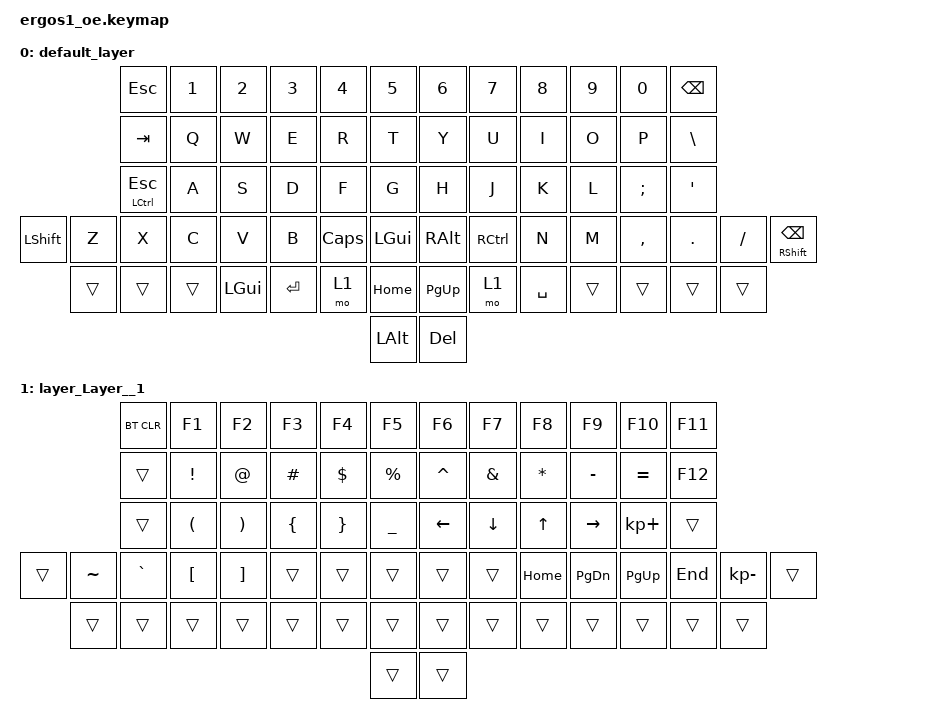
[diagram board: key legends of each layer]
/*
 * Copyright (c) 2020 The ZMK Contributors
 *
 * SPDX-License-Identifier: MIT
 */
/* THIS FILE WAS GENERATED!
 *
 * This file was generated automatically. You may or may not want to
 * edit it directly.
 */

#include <behaviors.dtsi>
#include <dt-bindings/zmk/keys.h>
#include <dt-bindings/zmk/bt.h>

/ {
    keymap {
        compatible = "zmk,keymap";

        default_layer {
            bindings = <
       &kp ESC   &kp N1  &kp N2        &kp N3     &kp N4  &kp N5    &kp N6     &kp N7    &kp N8     &kp N9    &kp N0          &kp BSPC
       &kp TAB    &kp Q   &kp W         &kp E      &kp R   &kp T     &kp Y      &kp U     &kp I      &kp O     &kp P     &kp BACKSLASH
 &mt LCTRL ESC    &kp A   &kp S         &kp D      &kp F   &kp G     &kp H      &kp J     &kp K      &kp L  &kp SEMI  &kp SINGLE_QUOTE
     &kp LSHFT    &kp Z   &kp X         &kp C      &kp V   &kp B  &kp CAPS   &kp LGUI  &kp RALT  &kp RCTRL     &kp N             &kp M  &kp COMMA  &kp PERIOD  &kp SLASH  &mt RSHIFT BSPC
        &trans   &trans  &trans  &kp LEFT_GUI  &kp ENTER   &mo 1  &kp HOME  &kp PG_UP     &mo 1  &kp SPACE    &trans            &trans     &trans      &trans
      &kp LALT  &kp DEL
            >;
        };

        layer_Layer__1 {
            bindings = <
 &bt BT_CLR     &kp F1     &kp F2    &kp F3    &kp F4     &kp F5     &kp F6    &kp F7     &kp F8     &kp F9      &kp F10    &kp F11
     &trans   &kp EXCL     &kp AT  &kp HASH  &kp DLLR  &kp PRCNT  &kp CARET  &kp AMPS  &kp ASTRK  &kp MINUS    &kp EQUAL    &kp F12
     &trans   &kp LPAR   &kp RPAR  &kp LBRC  &kp RBRC  &kp UNDER   &kp LEFT  &kp DOWN     &kp UP  &kp RIGHT  &kp KP_PLUS     &trans
     &trans  &kp TILDE  &kp GRAVE  &kp LBKT  &kp RBKT     &trans     &trans    &trans     &trans     &trans     &kp HOME  &kp PG_DN  &kp PG_UP  &kp END  &kp KP_MINUS  &trans
     &trans     &trans     &trans    &trans    &trans     &trans     &trans    &trans     &trans     &trans       &trans     &trans     &trans   &trans
     &trans     &trans
            >;
        };
    };
};
